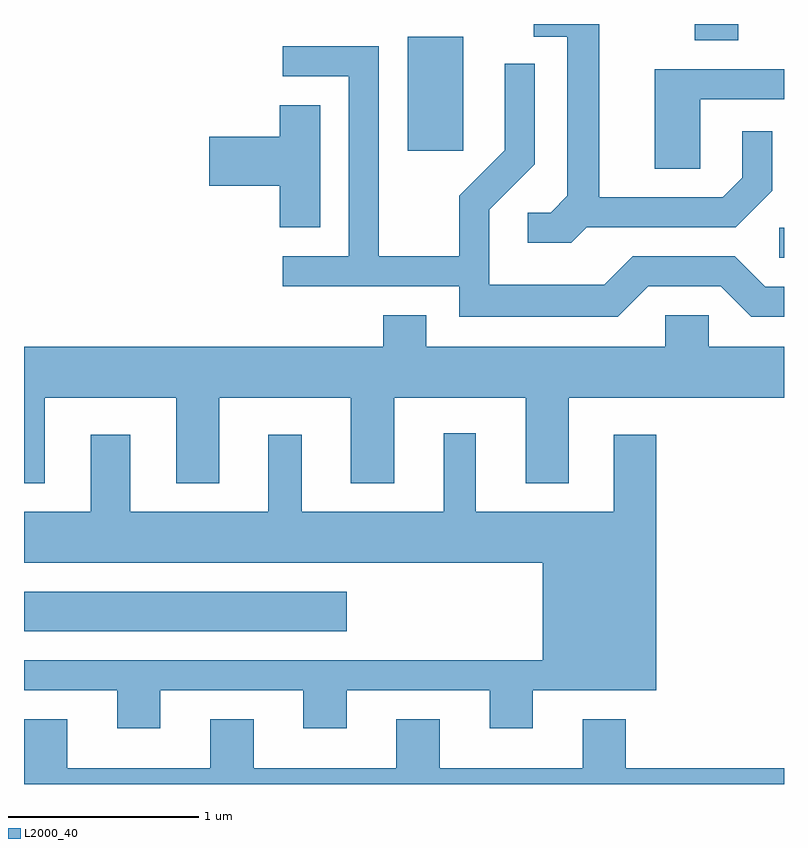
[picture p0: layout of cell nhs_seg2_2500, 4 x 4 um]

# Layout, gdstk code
import gdstk
lib = gdstk.Library(unit=1e-6, precision=1e-09)
def R(c, l, rs):  # rectangles x0, y0, x1, y1
    for r in rs: c.add(gdstk.rectangle(r[:2], r[2:], *l))
def P(c, l, *ps):  # polygons
    for p in ps: c.add(gdstk.Polygon(p, *l))
L2000_40 = (2000, 40)

nhs_seg2_2500 = lib.new_cell('nhs_seg2_2500')
R(nhs_seg2_2500, L2000_40, [(257.611,1082.606,259.309,1082.814), (261.587,1084.571,261.611,1084.729), (259.631,1085.136,259.924,1085.734), (261.141,1085.716,261.369,1085.802)])
P(nhs_seg2_2500, L2000_40, [(260.572,1084.731),(261.356,1084.731),(261.549,1084.924),(261.549,1085.238),(261.391,1085.238),(261.391,1084.992),(261.289,1084.889),(260.639,1084.889),(260.639,1085.802),(260.293,1085.802),(260.293,1085.736),(260.471,1085.736),(260.471,1084.897),(260.384,1084.809),(260.263,1084.809),(260.263,1084.651),(260.492,1084.651)],
  [(260.897,1084.421),(261.279,1084.421),(261.439,1084.261),(261.611,1084.261),(261.611,1084.419),(261.512,1084.419),(261.352,1084.579),(260.814,1084.579),(260.664,1084.429),(260.059,1084.429),(260.059,1084.824),(260.299,1085.064),(260.299,1085.593),(260.141,1085.593),(260.141,1085.137),(259.901,1084.897),(259.901,1084.579),(259.479,1084.579),(259.479,1085.684),(258.973,1085.684),(258.973,1085.526),(259.321,1085.526),(259.321,1084.579),(258.973,1084.579),(258.973,1084.421),(259.901,1084.421),(259.901,1084.261),(260.736,1084.261)],
  [(261.169,1085.406),(261.611,1085.406),(261.611,1085.564),(260.931,1085.564),(260.931,1085.041),(261.169,1085.041)],
  [(259.169,1085.374),(258.956,1085.374),(258.956,1085.209),(258.586,1085.209),(258.586,1084.951),(258.956,1084.951),(258.956,1084.731),(259.169,1084.731)],
  [(257.719,1083.836),(258.411,1083.836),(258.411,1083.386),(258.639,1083.386),(258.639,1083.836),(259.331,1083.836),(259.331,1083.386),(259.559,1083.386),(259.559,1083.836),(260.251,1083.836),(260.251,1083.386),(260.479,1083.386),(260.479,1083.836),(261.611,1083.836),(261.611,1084.104),(261.214,1084.104),(261.214,1084.269),(260.986,1084.269),(260.986,1084.104),(259.729,1084.104),(259.729,1084.269),(259.501,1084.269),(259.501,1084.104),(257.611,1084.104),(257.611,1083.386),(257.719,1083.386)],
  [(258.329,1082.296),(259.081,1082.296),(259.081,1082.096),(259.309,1082.096),(259.309,1082.296),(260.061,1082.296),(260.061,1082.096),(260.289,1082.096),(260.289,1082.296),(260.939,1082.296),(260.939,1083.639),(260.716,1083.639),(260.716,1083.234),(259.989,1083.234),(259.989,1083.648),(259.821,1083.648),(259.821,1083.234),(259.074,1083.234),(259.074,1083.639),(258.896,1083.639),(258.896,1083.234),(258.169,1083.234),(258.169,1083.639),(257.961,1083.639),(257.961,1083.234),(257.611,1083.234),(257.611,1082.966),(260.341,1082.966),(260.341,1082.454),(257.611,1082.454),(257.611,1082.296),(258.101,1082.296),(258.101,1082.096),(258.329,1082.096)],
  [(261.611,1081.884),(260.779,1081.884),(260.779,1082.144),(260.551,1082.144),(260.551,1081.884),(259.799,1081.884),(259.799,1082.144),(259.571,1082.144),(259.571,1081.884),(258.819,1081.884),(258.819,1082.144),(258.591,1082.144),(258.591,1081.884),(257.839,1081.884),(257.839,1082.144),(257.611,1082.144),(257.611,1081.802),(261.611,1081.802)])

lib.write_gds('nhs_seg2_2500.gds')
